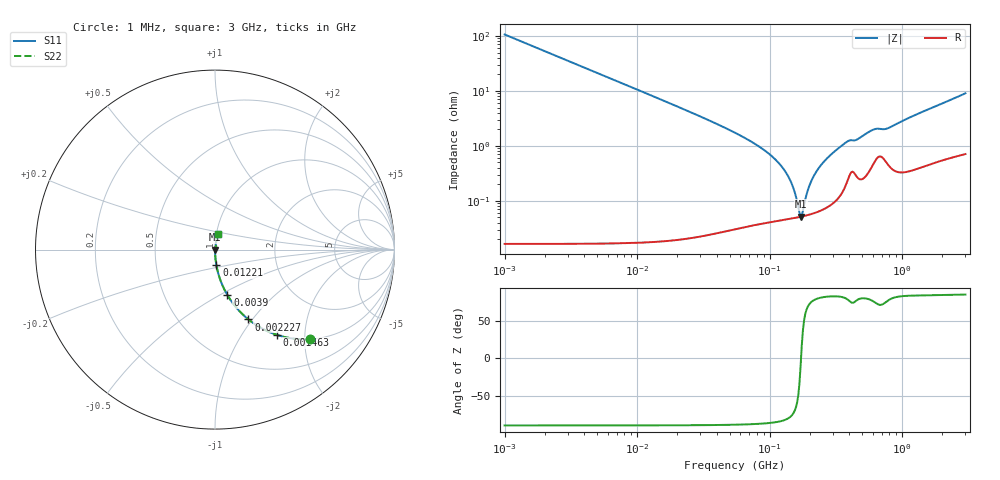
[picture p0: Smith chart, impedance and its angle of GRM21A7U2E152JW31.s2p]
!Murata Part Number: GRM21A7U2E152JW31
!These Parameters are Measured in Series Mode Connection
!Data Generated on Mar 30, 2021
!  o--ll--o
!Port1  Port2
!  o------o
!Operation Temp=25[degC], DC Bias Voltage=0[V]
!Freq. Start=1000[kHz] Stop=3[GHz] 401[Steps]
# Hz S RI R 50
!Freq.(Hz) S11(Real) S11(Imag) S21(Real) S21(Imag) S12(Real) S12(Imag) S22(Real) S22(Imag)
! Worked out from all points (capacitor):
!   401 points, 1 MHz to 3 GHz, reference 50 ohm
!   read as one part in series: C = 1.49 nF near 1.041 MHz
!   lowest |Z| = 52 mohm at 171.4 MHz (marker M1)
!   series resonance near 172.5 MHz, so ESL is about 570 pH
!   S11 on the Smith chart (normalised r, x): 1 MHz: 1.00, -2.13; 1.463 MHz: 1.00, -1.46; 2.227 MHz: 1.00, -0.96; 3.9 MHz: 1.00, -0.55; 12.21 MHz: 1.00, -0.17; 3 GHz: 1.01, +0.18
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1000000  0.5314 -0.4989  0.4686 0.4989  0.4686 0.4989  0.5314 -0.4989
1462727  0.3465 -0.4757  0.6535 0.4757  0.6535 0.4757  0.3465 -0.4757
2226959  0.1862 -0.3891  0.8138 0.3891  0.8138 0.3891  0.1862 -0.3891
3823119  0.0721 -0.2583  0.9279 0.2583  0.9279 0.2583  0.0721 -0.2583
3900413  0.0694 -0.2539  0.9306 0.2539  0.9306 0.2539  0.0694 -0.2539
1.220676e7  0.00765 -0.0861  0.9924 0.0861  0.9924 0.0861  0.00765 -0.0861
1.461624e7  0.00538 -0.0719  0.9946 0.0719  0.9946 0.0719  0.00538 -0.0719
5.477226e7  0.000607 -0.0174  0.9994 0.0174  0.9994 0.0174  0.000607 -0.0174
8.854986e7  0.000464 -0.00879  0.9995 0.00879  0.9995 0.00879  0.000464 -0.00879
1.219755e8  0.00046 -0.00434  0.9995 0.00434  0.9995 0.00434  0.00046 -0.00434
1.460522e8  0.00048 -0.00206  0.9995 0.00206  0.9995 0.00206  0.00048 -0.00206
1.680187e8  0.000509 -0.000326  0.9995 0.000326  0.9995 0.000326  0.000509 -0.000326
1.714156e8  0.000514 -7.95e-05  0.9995 7.95e-05  0.9995 7.95e-05  0.000514 -7.95e-05
1.784169e8  0.000526 0.000415  0.9995 -0.000415  0.9995 -0.000415  0.000526 0.000415
1.93289e8  0.000553 0.00141  0.9994 -0.00141  0.9994 -0.00141  0.000553 0.00141
2.094008e8  0.000589 0.00242  0.9994 -0.00242  0.9994 -0.00242  0.000589 0.00242
2.609752e8  0.000752 0.00535  0.9992 -0.00535  0.9992 -0.00535  0.000752 0.00535
3.741707e8  0.00202 0.0113  0.998 -0.0113  0.998 -0.0113  0.00202 0.0113
4.570858e8  0.00286 0.0128  0.9971 -0.0128  0.9971 -0.0128  0.00286 0.0128
6.049187e8  0.00499 0.019  0.995 -0.019  0.995 -0.019  0.00499 0.019
8.005644e8  0.00467 0.0209  0.9953 -0.0209  0.9953 -0.0209  0.00467 0.0209
3e9  0.015 0.0884  0.985 -0.0884  0.985 -0.0884  0.015 0.0884
